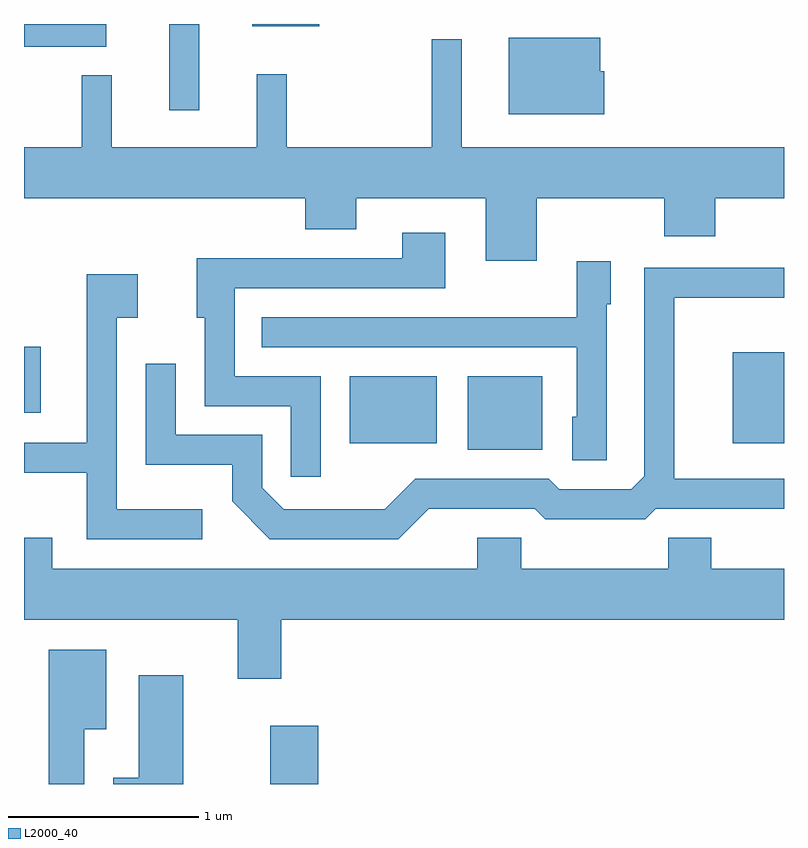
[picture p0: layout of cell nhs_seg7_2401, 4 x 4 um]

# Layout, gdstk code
import gdstk
lib = gdstk.Library(unit=1e-6, precision=1e-09)
def R(c, l, rs):  # rectangles x0, y0, x1, y1
    for r in rs: c.add(gdstk.rectangle(r[:2], r[2:], *l))
def P(c, l, *ps):  # polygons
    for p in ps: c.add(gdstk.Polygon(p, *l))
L2000_40 = (2000, 40)

nhs_seg7_2401 = lib.new_cell('nhs_seg7_2401')
R(nhs_seg7_2401, L2000_40, [(258.906,1802.252,259.159,1802.559), (259.946,1804.011,260.339,1804.399), (259.326,1804.046,259.784,1804.399), (261.341,1804.046,261.611,1804.524), (257.611,1804.206,257.699,1804.554), (258.376,1805.798,258.534,1806.252), (257.611,1806.131,258.044,1806.252), (258.811,1806.241,259.164,1806.252)])
P(nhs_seg7_2401, L2000_40, [(260.664,1806.004),(260.644,1806.004),(260.644,1806.179),(260.161,1806.179),(260.161,1805.776),(260.664,1805.776)],
  [(260.309,1805.336),(260.981,1805.336),(260.981,1805.136),(261.249,1805.136),(261.249,1805.336),(261.611,1805.336),(261.611,1805.604),(259.914,1805.604),(259.914,1806.173),(259.756,1806.173),(259.756,1805.604),(258.994,1805.604),(258.994,1805.988),(258.836,1805.988),(258.836,1805.604),(258.074,1805.604),(258.074,1805.983),(257.916,1805.983),(257.916,1805.604),(257.611,1805.604),(257.611,1805.336),(259.091,1805.336),(259.091,1805.171),(259.359,1805.171),(259.359,1805.336),(260.041,1805.336),(260.041,1805.006),(260.309,1805.006)],
  [(259.174,1804.399),(258.719,1804.399),(258.719,1804.861),(259.829,1804.861),(259.829,1805.154),(259.601,1805.154),(259.601,1805.019),(258.521,1805.019),(258.521,1804.706),(258.561,1804.706),(258.561,1804.241),(259.016,1804.241),(259.016,1803.868),(259.174,1803.868)],
  [(260.679,1804.776),(260.699,1804.776),(260.699,1805.004),(260.521,1805.004),(260.521,1804.709),(258.863,1804.709),(258.863,1804.551),(260.521,1804.551),(260.521,1804.184),(260.496,1804.184),(260.496,1803.956),(260.679,1803.956)],
  [(259.742,1803.701),(260.299,1803.701),(260.354,1803.646),(260.882,1803.646),(260.937,1803.701),(261.611,1803.701),(261.611,1803.859),(261.034,1803.859),(261.034,1804.811),(261.611,1804.811),(261.611,1804.969),(260.876,1804.969),(260.876,1803.872),(260.808,1803.804),(260.427,1803.804),(260.372,1803.859),(259.669,1803.859),(259.509,1803.699),(258.977,1803.699),(258.864,1803.812),(258.864,1804.089),(258.409,1804.089),(258.409,1804.463),(258.251,1804.463),(258.251,1803.931),(258.706,1803.931),(258.706,1803.739),(258.904,1803.541),(259.582,1803.541)],
  [(258.548,1803.699),(258.099,1803.699),(258.099,1804.706),(258.209,1804.706),(258.209,1804.934),(257.941,1804.934),(257.941,1804.049),(257.611,1804.049),(257.611,1803.891),(257.941,1803.891),(257.941,1803.541),(258.548,1803.541)],
  [(258.964,1803.116),(261.611,1803.116),(261.611,1803.384),(261.229,1803.384),(261.229,1803.549),(261.001,1803.549),(261.001,1803.384),(260.229,1803.384),(260.229,1803.549),(259.996,1803.549),(259.996,1803.384),(257.759,1803.384),(257.759,1803.549),(257.611,1803.549),(257.611,1803.116),(258.736,1803.116),(258.736,1802.806),(258.964,1802.806)],
  [(257.929,1802.541),(258.044,1802.541),(258.044,1802.959),(257.741,1802.959),(257.741,1802.252),(257.929,1802.252)],
  [(258.449,1802.824),(258.216,1802.824),(258.216,1802.284),(258.081,1802.284),(258.081,1802.252),(258.449,1802.252)])

lib.write_gds('nhs_seg7_2401.gds')
